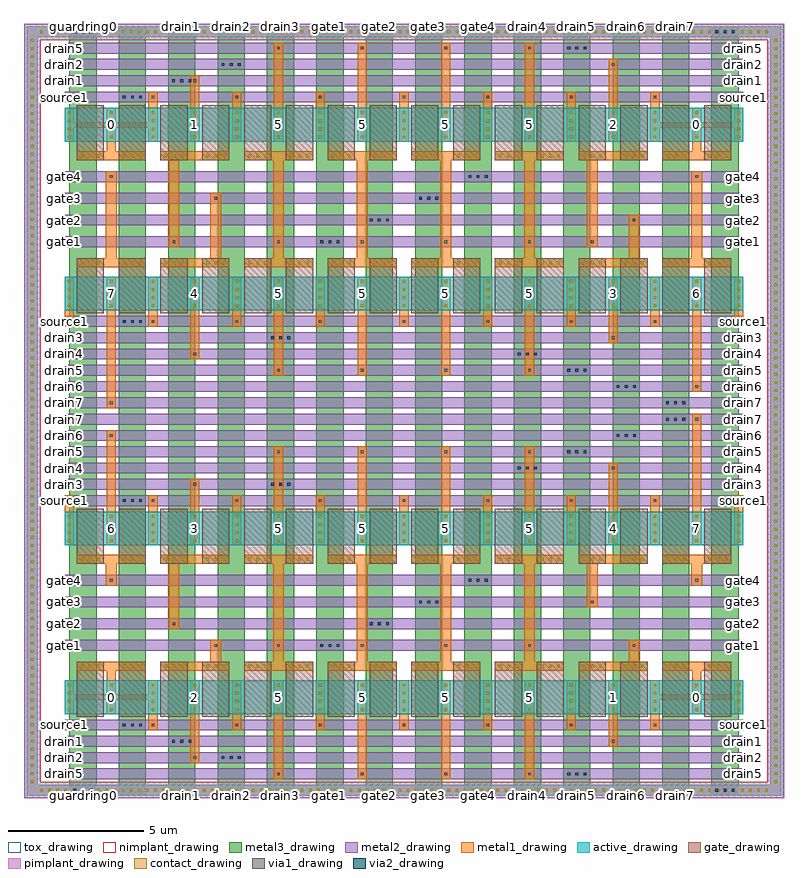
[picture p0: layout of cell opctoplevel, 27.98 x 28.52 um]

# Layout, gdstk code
import gdstk
lib = gdstk.Library(unit=1e-6, precision=1e-09)
def R(c, l, rs):  # rectangles x0, y0, x1, y1
    for r in rs: c.add(gdstk.rectangle(r[:2], r[2:], *l))
def A(c, l, x, y, w, h, nx, ny, dx, dy):  # array of equal rectangles
    R(c, l, [(x+i*dx, y+j*dy, x+i*dx+w, y+j*dy+h) for i in range(nx) for j in range(ny)])
active_drawing = (1, 0)
pimplant_drawing = (4, 0)
nimplant_drawing = (5, 0)
gate_drawing = (6, 0)
contact_drawing = (7, 0)
metal1_drawing = (8, 0)
via1_drawing = (9, 0)
metal2_drawing = (10, 0)
via2_drawing = (11, 0)
metal3_drawing = (12, 0)
tox_drawing = (32, 0)

opctoplevel = lib.new_cell('opctoplevel')
A(opctoplevel, active_drawing, -0.44, 0, 3.42, 1.25, 8, 2, 3.08, 6.21)
A(opctoplevel, active_drawing, -0.44, 14.86, 3.42, 1.25, 8, 2, 3.08, 6.21)
R(opctoplevel, active_drawing, [(-1.84,-3,25.94,-2.6), (-1.84,-3,-1.44,25.32), (25.54,-3,25.94,25.32), (-1.84,24.92,25.94,25.32)])
R(opctoplevel, pimplant_drawing, [(-1.94,-3.1,26.04,-2.5), (-1.94,-3.1,-1.34,25.42), (25.44,-3.1,26.04,25.42), (-1.94,24.82,26.04,25.42)])
R(opctoplevel, nimplant_drawing, [(-1.34,-2.5,25.44,24.82)])
A(opctoplevel, gate_drawing, 0, -0.1, 1, 2.03, 16, 2, 1.54, 5.63)
A(opctoplevel, gate_drawing, 0, 14.76, 1, 2.03, 16, 2, 1.54, 5.63)
A(opctoplevel, contact_drawing, -1.35, -2.85, 0.1, 0.1, 90, 2, 0.3, 27.92)
A(opctoplevel, contact_drawing, -1.69, -2.54, 0.1, 0.1, 1, 92, 0, 0.3)
A(opctoplevel, contact_drawing, 25.69, -2.54, 0.1, 0.1, 1, 92, 0, 0.3)
A(opctoplevel, contact_drawing, -0.32, 0.125, 0.1, 0.1, 3, 4, 1.54, 0.3)
A(opctoplevel, contact_drawing, 2.76, 0.125, 0.1, 0.1, 3, 4, 1.54, 0.3)
A(opctoplevel, contact_drawing, 5.84, 0.125, 0.1, 0.1, 3, 4, 1.54, 0.3)
A(opctoplevel, contact_drawing, 8.92, 0.125, 0.1, 0.1, 3, 4, 1.54, 0.3)
A(opctoplevel, contact_drawing, 12, 0.125, 0.1, 0.1, 3, 4, 1.54, 0.3)
A(opctoplevel, contact_drawing, 15.08, 0.125, 0.1, 0.1, 3, 4, 1.54, 0.3)
A(opctoplevel, contact_drawing, 18.16, 0.125, 0.1, 0.1, 3, 4, 1.54, 0.3)
A(opctoplevel, contact_drawing, 21.24, 0.125, 0.1, 0.1, 3, 4, 1.54, 0.3)
A(opctoplevel, contact_drawing, 0.15, 1.71, 0.1, 0.1, 3, 2, 0.3, 3.94)
A(opctoplevel, contact_drawing, 1.69, 1.71, 0.1, 0.1, 3, 2, 0.3, 3.94)
A(opctoplevel, contact_drawing, 3.23, 1.71, 0.1, 0.1, 3, 2, 0.3, 3.94)
A(opctoplevel, contact_drawing, 4.77, 1.71, 0.1, 0.1, 3, 2, 0.3, 3.94)
A(opctoplevel, contact_drawing, 6.31, 1.71, 0.1, 0.1, 3, 2, 0.3, 3.94)
A(opctoplevel, contact_drawing, 7.85, 1.71, 0.1, 0.1, 3, 2, 0.3, 3.94)
A(opctoplevel, contact_drawing, 9.39, 1.71, 0.1, 0.1, 3, 2, 0.3, 3.94)
A(opctoplevel, contact_drawing, 10.93, 1.71, 0.1, 0.1, 3, 2, 0.3, 3.94)
A(opctoplevel, contact_drawing, 12.47, 1.71, 0.1, 0.1, 3, 2, 0.3, 3.94)
A(opctoplevel, contact_drawing, 14.01, 1.71, 0.1, 0.1, 3, 2, 0.3, 3.94)
A(opctoplevel, contact_drawing, 15.55, 1.71, 0.1, 0.1, 3, 2, 0.3, 3.94)
A(opctoplevel, contact_drawing, 17.09, 1.71, 0.1, 0.1, 3, 2, 0.3, 3.94)
A(opctoplevel, contact_drawing, 18.63, 1.71, 0.1, 0.1, 3, 2, 0.3, 3.94)
A(opctoplevel, contact_drawing, 20.17, 1.71, 0.1, 0.1, 3, 2, 0.3, 3.94)
A(opctoplevel, contact_drawing, 21.71, 1.71, 0.1, 0.1, 3, 2, 0.3, 3.94)
A(opctoplevel, contact_drawing, 23.25, 1.71, 0.1, 0.1, 3, 2, 0.3, 3.94)
A(opctoplevel, contact_drawing, -0.32, 6.335, 0.1, 0.1, 3, 4, 1.54, 0.3)
A(opctoplevel, contact_drawing, 2.76, 6.335, 0.1, 0.1, 3, 4, 1.54, 0.3)
A(opctoplevel, contact_drawing, 5.84, 6.335, 0.1, 0.1, 3, 4, 1.54, 0.3)
A(opctoplevel, contact_drawing, 8.92, 6.335, 0.1, 0.1, 3, 4, 1.54, 0.3)
A(opctoplevel, contact_drawing, 12, 6.335, 0.1, 0.1, 3, 4, 1.54, 0.3)
A(opctoplevel, contact_drawing, 15.08, 6.335, 0.1, 0.1, 3, 4, 1.54, 0.3)
A(opctoplevel, contact_drawing, 18.16, 6.335, 0.1, 0.1, 3, 4, 1.54, 0.3)
A(opctoplevel, contact_drawing, 21.24, 6.335, 0.1, 0.1, 3, 4, 1.54, 0.3)
A(opctoplevel, contact_drawing, -0.32, 14.985, 0.1, 0.1, 3, 4, 1.54, 0.3)
A(opctoplevel, contact_drawing, 2.76, 14.985, 0.1, 0.1, 3, 4, 1.54, 0.3)
A(opctoplevel, contact_drawing, 5.84, 14.985, 0.1, 0.1, 3, 4, 1.54, 0.3)
A(opctoplevel, contact_drawing, 8.92, 14.985, 0.1, 0.1, 3, 4, 1.54, 0.3)
A(opctoplevel, contact_drawing, 12, 14.985, 0.1, 0.1, 3, 4, 1.54, 0.3)
A(opctoplevel, contact_drawing, 15.08, 14.985, 0.1, 0.1, 3, 4, 1.54, 0.3)
A(opctoplevel, contact_drawing, 18.16, 14.985, 0.1, 0.1, 3, 4, 1.54, 0.3)
A(opctoplevel, contact_drawing, 21.24, 14.985, 0.1, 0.1, 3, 4, 1.54, 0.3)
A(opctoplevel, contact_drawing, 0.15, 16.57, 0.1, 0.1, 3, 2, 0.3, 3.94)
A(opctoplevel, contact_drawing, 1.69, 16.57, 0.1, 0.1, 3, 2, 0.3, 3.94)
A(opctoplevel, contact_drawing, 3.23, 16.57, 0.1, 0.1, 3, 2, 0.3, 3.94)
A(opctoplevel, contact_drawing, 4.77, 16.57, 0.1, 0.1, 3, 2, 0.3, 3.94)
A(opctoplevel, contact_drawing, 6.31, 16.57, 0.1, 0.1, 3, 2, 0.3, 3.94)
A(opctoplevel, contact_drawing, 7.85, 16.57, 0.1, 0.1, 3, 2, 0.3, 3.94)
A(opctoplevel, contact_drawing, 9.39, 16.57, 0.1, 0.1, 3, 2, 0.3, 3.94)
A(opctoplevel, contact_drawing, 10.93, 16.57, 0.1, 0.1, 3, 2, 0.3, 3.94)
A(opctoplevel, contact_drawing, 12.47, 16.57, 0.1, 0.1, 3, 2, 0.3, 3.94)
A(opctoplevel, contact_drawing, 14.01, 16.57, 0.1, 0.1, 3, 2, 0.3, 3.94)
A(opctoplevel, contact_drawing, 15.55, 16.57, 0.1, 0.1, 3, 2, 0.3, 3.94)
A(opctoplevel, contact_drawing, 17.09, 16.57, 0.1, 0.1, 3, 2, 0.3, 3.94)
A(opctoplevel, contact_drawing, 18.63, 16.57, 0.1, 0.1, 3, 2, 0.3, 3.94)
A(opctoplevel, contact_drawing, 20.17, 16.57, 0.1, 0.1, 3, 2, 0.3, 3.94)
A(opctoplevel, contact_drawing, 21.71, 16.57, 0.1, 0.1, 3, 2, 0.3, 3.94)
A(opctoplevel, contact_drawing, 23.25, 16.57, 0.1, 0.1, 3, 2, 0.3, 3.94)
A(opctoplevel, contact_drawing, -0.32, 21.195, 0.1, 0.1, 3, 4, 1.54, 0.3)
A(opctoplevel, contact_drawing, 2.76, 21.195, 0.1, 0.1, 3, 4, 1.54, 0.3)
A(opctoplevel, contact_drawing, 5.84, 21.195, 0.1, 0.1, 3, 4, 1.54, 0.3)
A(opctoplevel, contact_drawing, 8.92, 21.195, 0.1, 0.1, 3, 4, 1.54, 0.3)
A(opctoplevel, contact_drawing, 12, 21.195, 0.1, 0.1, 3, 4, 1.54, 0.3)
A(opctoplevel, contact_drawing, 15.08, 21.195, 0.1, 0.1, 3, 4, 1.54, 0.3)
A(opctoplevel, contact_drawing, 18.16, 21.195, 0.1, 0.1, 3, 4, 1.54, 0.3)
A(opctoplevel, contact_drawing, 21.24, 21.195, 0.1, 0.1, 3, 4, 1.54, 0.3)
A(opctoplevel, metal1_drawing, 7.26, -2.4, 0.34, 0.4, 4, 2, 3.08, 11.86)
A(opctoplevel, metal1_drawing, 7.26, -2.4, 0.34, 2.4, 4, 2, 3.08, 9.86)
A(opctoplevel, metal1_drawing, -0.44, 0, 0.34, 1.25, 3, 2, 1.54, 6.21)
A(opctoplevel, metal1_drawing, 2.64, 0, 0.34, 1.25, 3, 2, 1.54, 6.21)
A(opctoplevel, metal1_drawing, 5.72, 0, 0.34, 1.25, 3, 2, 1.54, 6.21)
A(opctoplevel, metal1_drawing, 8.8, 0, 0.34, 1.25, 3, 2, 1.54, 6.21)
A(opctoplevel, metal1_drawing, 11.88, 0, 0.34, 1.25, 3, 2, 1.54, 6.21)
A(opctoplevel, metal1_drawing, 14.96, 0, 0.34, 1.25, 3, 2, 1.54, 6.21)
A(opctoplevel, metal1_drawing, 18.04, 0, 0.34, 1.25, 3, 2, 1.54, 6.21)
A(opctoplevel, metal1_drawing, 21.12, 0, 0.34, 1.25, 3, 2, 1.54, 6.21)
A(opctoplevel, metal1_drawing, 0, 1.59, 2.54, 0.34, 8, 2, 3.08, 3.94)
A(opctoplevel, metal1_drawing, 7.23, 1.59, 0.4, 0.34, 4, 2, 3.08, 3.94)
A(opctoplevel, metal1_drawing, 7.23, 1.93, 0.4, 0.4, 4, 2, 3.08, 14.86)
A(opctoplevel, metal1_drawing, 7.23, 2.73, 0.4, 2.8, 4, 2, 3.08, 14.86)
A(opctoplevel, metal1_drawing, 7.26, 12.46, 0.34, 0.4, 4, 2, 3.08, 11.86)
A(opctoplevel, metal1_drawing, 7.26, 12.46, 0.34, 2.4, 4, 2, 3.08, 9.86)
A(opctoplevel, metal1_drawing, -0.44, 14.86, 0.34, 1.25, 3, 2, 1.54, 6.21)
A(opctoplevel, metal1_drawing, 2.64, 14.86, 0.34, 1.25, 3, 2, 1.54, 6.21)
A(opctoplevel, metal1_drawing, 5.72, 14.86, 0.34, 1.25, 3, 2, 1.54, 6.21)
A(opctoplevel, metal1_drawing, 8.8, 14.86, 0.34, 1.25, 3, 2, 1.54, 6.21)
A(opctoplevel, metal1_drawing, 11.88, 14.86, 0.34, 1.25, 3, 2, 1.54, 6.21)
A(opctoplevel, metal1_drawing, 14.96, 14.86, 0.34, 1.25, 3, 2, 1.54, 6.21)
A(opctoplevel, metal1_drawing, 18.04, 14.86, 0.34, 1.25, 3, 2, 1.54, 6.21)
A(opctoplevel, metal1_drawing, 21.12, 14.86, 0.34, 1.25, 3, 2, 1.54, 6.21)
A(opctoplevel, metal1_drawing, 0, 16.45, 2.54, 0.34, 8, 2, 3.08, 3.94)
A(opctoplevel, metal1_drawing, 7.23, 16.45, 0.4, 0.34, 4, 2, 3.08, 3.94)
R(opctoplevel, metal1_drawing, [(-1.84,-3,25.94,-2.6), (-1.84,-3,-1.44,25.32), (-0.267,-3,0.733,-2.6), (23.367,-3,24.367,-2.6), (25.54,-3,25.94,25.32), (4.18,-1.8,4.52,-1.4), (4.18,-1.8,4.52,0), (19.58,-1.2,19.92,-0.8), (19.58,-1.2,19.92,0), (2.64,-0.6,2.98,0), (2.64,-0.6,2.98,-0.2), (5.72,-0.6,6.06,0), (5.72,-0.6,6.06,0), (5.72,-0.6,6.06,-0.2), (5.72,-0.6,6.06,-0.2), (8.8,-0.6,9.14,0), (8.8,-0.6,9.14,0), (8.8,-0.6,9.14,-0.2), (8.8,-0.6,9.14,-0.2), (11.88,-0.6,12.22,0), (11.88,-0.6,12.22,0), (11.88,-0.6,12.22,-0.2), (11.88,-0.6,12.22,-0.2), (14.96,-0.6,15.3,0), (14.96,-0.6,15.3,0), (14.96,-0.6,15.3,-0.2), (14.96,-0.6,15.3,-0.2), (18.04,-0.6,18.38,0), (18.04,-0.6,18.38,0), (18.04,-0.6,18.38,-0.2), (18.04,-0.6,18.38,-0.2), (21.12,-0.6,21.46,0), (21.12,-0.6,21.46,-0.2), (-0.1,0.525,2.64,0.725), (21.46,0.525,24.2,0.725), (1.1,1.25,1.44,1.59), (22.66,1.25,23,1.59), (4.92,1.59,5.32,1.93), (20.32,1.59,20.72,1.93), (4.92,1.93,5.32,2.33), (20.32,1.93,20.72,2.33), (4.92,2.33,5.32,2.73), (7.23,2.33,7.63,2.73), (7.23,2.33,7.63,2.73), (10.31,2.33,10.71,2.73), (10.31,2.33,10.71,2.73), (13.39,2.33,13.79,2.73), (13.39,2.33,13.79,2.73), (16.47,2.33,16.87,2.73), (16.47,2.33,16.87,2.73), (20.32,2.33,20.72,2.73), (3.38,3.13,3.78,3.53), (3.38,3.53,3.78,5.53), (18.78,3.93,19.18,4.33), (18.78,4.33,19.18,5.53), (1.07,4.73,1.47,5.13), (22.63,4.73,23.03,5.13), (1.07,5.13,1.47,5.53), (22.63,5.13,23.03,5.53), (1.07,5.53,1.47,5.87), (3.38,5.53,3.78,5.87), (18.78,5.53,19.18,5.87), (22.63,5.53,23.03,5.87), (-0.44,7.46,-0.1,8.06), (1.1,7.46,1.44,10.46), (2.64,7.46,2.98,8.06), (2.64,7.46,2.98,8.06), (4.18,7.46,4.52,8.66), (5.72,7.46,6.06,8.06), (5.72,7.46,6.06,8.06), (8.8,7.46,9.14,8.06), (8.8,7.46,9.14,8.06), (11.88,7.46,12.22,8.06), (11.88,7.46,12.22,8.06), (14.96,7.46,15.3,8.06), (14.96,7.46,15.3,8.06), (18.04,7.46,18.38,8.06), (18.04,7.46,18.38,8.06), (19.58,7.46,19.92,9.26), (21.12,7.46,21.46,8.06), (21.12,7.46,21.46,8.06), (22.66,7.46,23,11.06), (24.2,7.46,24.54,8.06), (-0.44,7.66,-0.1,8.06), (2.64,7.66,2.98,8.06), (2.64,7.66,2.98,8.06), (5.72,7.66,6.06,8.06), (5.72,7.66,6.06,8.06), (8.8,7.66,9.14,8.06), (8.8,7.66,9.14,8.06), (11.88,7.66,12.22,8.06), (11.88,7.66,12.22,8.06), (14.96,7.66,15.3,8.06), (14.96,7.66,15.3,8.06), (18.04,7.66,18.38,8.06), (18.04,7.66,18.38,8.06), (21.12,7.66,21.46,8.06), (21.12,7.66,21.46,8.06), (24.2,7.66,24.54,8.06), (4.18,8.26,4.52,8.66), (19.58,8.86,19.92,9.26), (1.1,10.06,1.44,10.46), (22.66,10.66,23,11.06), (1.1,11.26,1.44,11.66), (1.1,11.26,1.44,14.86), (22.66,11.86,23,12.26), (22.66,11.86,23,14.86), (4.18,13.06,4.52,13.46), (4.18,13.06,4.52,14.86), (19.58,13.66,19.92,14.06), (19.58,13.66,19.92,14.86), (-0.44,14.26,-0.1,14.86), (-0.44,14.26,-0.1,14.66), (2.64,14.26,2.98,14.86), (2.64,14.26,2.98,14.86), (2.64,14.26,2.98,14.66), (2.64,14.26,2.98,14.66), (5.72,14.26,6.06,14.86), (5.72,14.26,6.06,14.86), (5.72,14.26,6.06,14.66), (5.72,14.26,6.06,14.66), (8.8,14.26,9.14,14.86), (8.8,14.26,9.14,14.86), (8.8,14.26,9.14,14.66), (8.8,14.26,9.14,14.66), (11.88,14.26,12.22,14.86), (11.88,14.26,12.22,14.86), (11.88,14.26,12.22,14.66), (11.88,14.26,12.22,14.66), (14.96,14.26,15.3,14.86), (14.96,14.26,15.3,14.86), (14.96,14.26,15.3,14.66), (14.96,14.26,15.3,14.66), (18.04,14.26,18.38,14.86), (18.04,14.26,18.38,14.86), (18.04,14.26,18.38,14.66), (18.04,14.26,18.38,14.66), (21.12,14.26,21.46,14.86), (21.12,14.26,21.46,14.86), (21.12,14.26,21.46,14.66), (21.12,14.26,21.46,14.66), (24.2,14.26,24.54,14.86), (24.2,14.26,24.54,14.66), (1.07,16.45,1.47,16.79), (4.92,16.45,5.32,16.79), (20.32,16.45,20.72,16.79), (22.63,16.45,23.03,16.79), (1.07,16.79,1.47,19.59), (4.92,16.79,5.32,18.79), (20.32,16.79,20.72,17.99), (22.63,16.79,23.03,19.59), (3.38,17.19,3.78,17.59), (7.23,17.19,7.63,17.59), (7.23,17.19,7.63,17.59), (10.31,17.19,10.71,17.59), (10.31,17.19,10.71,17.59), (13.39,17.19,13.79,17.59), (13.39,17.19,13.79,17.59), (16.47,17.19,16.87,17.59), (16.47,17.19,16.87,17.59), (18.78,17.19,19.18,17.59), (3.38,17.59,3.78,20.39), (18.78,17.59,19.18,20.39), (20.32,17.99,20.72,18.39), (4.92,18.79,5.32,19.19), (1.07,19.59,1.47,19.99), (22.63,19.59,23.03,19.99), (3.38,20.39,3.78,20.73), (18.78,20.39,19.18,20.73), (1.1,20.73,1.44,21.07), (22.66,20.73,23,21.07), (-0.1,21.595,2.64,21.795), (21.46,21.595,24.2,21.795), (2.64,22.32,2.98,22.92), (4.18,22.32,4.52,23.52), (5.72,22.32,6.06,22.92), (5.72,22.32,6.06,22.92), (8.8,22.32,9.14,22.92), (8.8,22.32,9.14,22.92), (11.88,22.32,12.22,22.92), (11.88,22.32,12.22,22.92), (14.96,22.32,15.3,22.92), (14.96,22.32,15.3,22.92), (18.04,22.32,18.38,22.92), (18.04,22.32,18.38,22.92), (19.58,22.32,19.92,24.12), (21.12,22.32,21.46,22.92), (2.64,22.52,2.98,22.92), (5.72,22.52,6.06,22.92), (5.72,22.52,6.06,22.92), (8.8,22.52,9.14,22.92), (8.8,22.52,9.14,22.92), (11.88,22.52,12.22,22.92), (11.88,22.52,12.22,22.92), (14.96,22.52,15.3,22.92), (14.96,22.52,15.3,22.92), (18.04,22.52,18.38,22.92), (18.04,22.52,18.38,22.92), (21.12,22.52,21.46,22.92), (4.18,23.12,4.52,23.52), (19.58,23.72,19.92,24.12), (-1.84,24.92,25.94,25.32), (-0.267,24.92,0.733,25.32), (23.367,24.92,24.367,25.32)])
A(opctoplevel, via1_drawing, -0.117, -2.85, 0.1, 0.1, 3, 2, 0.3, 27.92)
A(opctoplevel, via1_drawing, 23.517, -2.85, 0.1, 0.1, 3, 2, 0.3, 27.92)
A(opctoplevel, via1_drawing, 7.38, -2.25, 0.1, 0.1, 4, 2, 3.08, 11.86)
A(opctoplevel, via1_drawing, 7.38, 12.61, 0.1, 0.1, 4, 2, 3.08, 11.86)
R(opctoplevel, via1_drawing, [(4.3,-1.65,4.4,-1.55), (19.7,-1.05,19.8,-0.95), (2.76,-0.45,2.86,-0.35), (5.84,-0.45,5.94,-0.35), (5.84,-0.45,5.94,-0.35), (8.92,-0.45,9.02,-0.35), (8.92,-0.45,9.02,-0.35), (12,-0.45,12.1,-0.35), (12,-0.45,12.1,-0.35), (15.08,-0.45,15.18,-0.35), (15.08,-0.45,15.18,-0.35), (18.16,-0.45,18.26,-0.35), (18.16,-0.45,18.26,-0.35), (21.24,-0.45,21.34,-0.35), (5.07,2.48,5.17,2.58), (7.38,2.48,7.48,2.58), (7.38,2.48,7.48,2.58), (10.46,2.48,10.56,2.58), (10.46,2.48,10.56,2.58), (13.54,2.48,13.64,2.58), (13.54,2.48,13.64,2.58), (16.62,2.48,16.72,2.58), (16.62,2.48,16.72,2.58), (20.47,2.48,20.57,2.58), (3.53,3.28,3.63,3.38), (18.93,4.08,19.03,4.18), (1.22,4.88,1.32,4.98), (22.78,4.88,22.88,4.98), (-0.32,7.81,-0.22,7.91), (2.76,7.81,2.86,7.91), (2.76,7.81,2.86,7.91), (5.84,7.81,5.94,7.91), (5.84,7.81,5.94,7.91), (8.92,7.81,9.02,7.91), (8.92,7.81,9.02,7.91), (12,7.81,12.1,7.91), (12,7.81,12.1,7.91), (15.08,7.81,15.18,7.91), (15.08,7.81,15.18,7.91), (18.16,7.81,18.26,7.91), (18.16,7.81,18.26,7.91), (21.24,7.81,21.34,7.91), (21.24,7.81,21.34,7.91), (24.32,7.81,24.42,7.91), (4.3,8.41,4.4,8.51), (19.7,9.01,19.8,9.11), (1.22,10.21,1.32,10.31), (22.78,10.81,22.88,10.91), (1.22,11.41,1.32,11.51), (22.78,12.01,22.88,12.11), (4.3,13.21,4.4,13.31), (19.7,13.81,19.8,13.91), (-0.32,14.41,-0.22,14.51), (2.76,14.41,2.86,14.51), (2.76,14.41,2.86,14.51), (5.84,14.41,5.94,14.51), (5.84,14.41,5.94,14.51), (8.92,14.41,9.02,14.51), (8.92,14.41,9.02,14.51), (12,14.41,12.1,14.51), (12,14.41,12.1,14.51), (15.08,14.41,15.18,14.51), (15.08,14.41,15.18,14.51), (18.16,14.41,18.26,14.51), (18.16,14.41,18.26,14.51), (21.24,14.41,21.34,14.51), (21.24,14.41,21.34,14.51), (24.32,14.41,24.42,14.51), (3.53,17.34,3.63,17.44), (7.38,17.34,7.48,17.44), (7.38,17.34,7.48,17.44), (10.46,17.34,10.56,17.44), (10.46,17.34,10.56,17.44), (13.54,17.34,13.64,17.44), (13.54,17.34,13.64,17.44), (16.62,17.34,16.72,17.44), (16.62,17.34,16.72,17.44), (18.93,17.34,19.03,17.44), (20.47,18.14,20.57,18.24), (5.07,18.94,5.17,19.04), (1.22,19.74,1.32,19.84), (22.78,19.74,22.88,19.84), (2.76,22.67,2.86,22.77), (5.84,22.67,5.94,22.77), (5.84,22.67,5.94,22.77), (8.92,22.67,9.02,22.77), (8.92,22.67,9.02,22.77), (12,22.67,12.1,22.77), (12,22.67,12.1,22.77), (15.08,22.67,15.18,22.77), (15.08,22.67,15.18,22.77), (18.16,22.67,18.26,22.77), (18.16,22.67,18.26,22.77), (21.24,22.67,21.34,22.77), (4.3,23.27,4.4,23.37), (19.7,23.87,19.8,23.97)])
A(opctoplevel, metal2_drawing, -0.44, -2.4, 24.98, 0.4, 1, 4, 0, 0.6)
A(opctoplevel, metal2_drawing, 7.26, -2.4, 0.34, 0.4, 4, 2, 3.08, 11.86)
A(opctoplevel, metal2_drawing, -0.44, 2.33, 24.98, 0.4, 1, 4, 0, 0.8)
A(opctoplevel, metal2_drawing, -0.44, 7.66, 24.98, 0.4, 1, 12, 0, 0.6)
A(opctoplevel, metal2_drawing, 7.26, 12.46, 0.34, 0.4, 4, 2, 3.08, 11.86)
A(opctoplevel, metal2_drawing, -0.44, 17.19, 24.98, 0.4, 1, 4, 0, 0.8)
A(opctoplevel, metal2_drawing, -0.44, 22.52, 24.98, 0.4, 1, 4, 0, 0.6)
R(opctoplevel, metal2_drawing, [(-0.267,-3,0.733,-2.6), (23.367,-3,24.367,-2.6), (4.18,-1.8,4.52,-1.4), (19.58,-1.2,19.92,-0.8), (2.64,-0.6,2.98,-0.2), (5.72,-0.6,6.06,-0.2), (5.72,-0.6,6.06,-0.2), (8.8,-0.6,9.14,-0.2), (8.8,-0.6,9.14,-0.2), (11.88,-0.6,12.22,-0.2), (11.88,-0.6,12.22,-0.2), (14.96,-0.6,15.3,-0.2), (14.96,-0.6,15.3,-0.2), (18.04,-0.6,18.38,-0.2), (18.04,-0.6,18.38,-0.2), (21.12,-0.6,21.46,-0.2), (4.92,2.33,5.32,2.73), (7.23,2.33,7.63,2.73), (7.23,2.33,7.63,2.73), (10.31,2.33,10.71,2.73), (10.31,2.33,10.71,2.73), (13.39,2.33,13.79,2.73), (13.39,2.33,13.79,2.73), (16.47,2.33,16.87,2.73), (16.47,2.33,16.87,2.73), (20.32,2.33,20.72,2.73), (3.38,3.13,3.78,3.53), (18.78,3.93,19.18,4.33), (1.07,4.73,1.47,5.13), (22.63,4.73,23.03,5.13), (-0.44,7.66,-0.1,8.06), (2.64,7.66,2.98,8.06), (2.64,7.66,2.98,8.06), (5.72,7.66,6.06,8.06), (5.72,7.66,6.06,8.06), (8.8,7.66,9.14,8.06), (8.8,7.66,9.14,8.06), (11.88,7.66,12.22,8.06), (11.88,7.66,12.22,8.06), (14.96,7.66,15.3,8.06), (14.96,7.66,15.3,8.06), (18.04,7.66,18.38,8.06), (18.04,7.66,18.38,8.06), (21.12,7.66,21.46,8.06), (21.12,7.66,21.46,8.06), (24.2,7.66,24.54,8.06), (4.18,8.26,4.52,8.66), (19.58,8.86,19.92,9.26), (1.1,10.06,1.44,10.46), (22.66,10.66,23,11.06), (1.1,11.26,1.44,11.66), (22.66,11.86,23,12.26), (4.18,13.06,4.52,13.46), (19.58,13.66,19.92,14.06), (-0.44,14.26,-0.1,14.66), (2.64,14.26,2.98,14.66), (2.64,14.26,2.98,14.66), (5.72,14.26,6.06,14.66), (5.72,14.26,6.06,14.66), (8.8,14.26,9.14,14.66), (8.8,14.26,9.14,14.66), (11.88,14.26,12.22,14.66), (11.88,14.26,12.22,14.66), (14.96,14.26,15.3,14.66), (14.96,14.26,15.3,14.66), (18.04,14.26,18.38,14.66), (18.04,14.26,18.38,14.66), (21.12,14.26,21.46,14.66), (21.12,14.26,21.46,14.66), (24.2,14.26,24.54,14.66), (3.38,17.19,3.78,17.59), (7.23,17.19,7.63,17.59), (7.23,17.19,7.63,17.59), (10.31,17.19,10.71,17.59), (10.31,17.19,10.71,17.59), (13.39,17.19,13.79,17.59), (13.39,17.19,13.79,17.59), (16.47,17.19,16.87,17.59), (16.47,17.19,16.87,17.59), (18.78,17.19,19.18,17.59), (20.32,17.99,20.72,18.39), (4.92,18.79,5.32,19.19), (1.07,19.59,1.47,19.99), (22.63,19.59,23.03,19.99), (2.64,22.52,2.98,22.92), (5.72,22.52,6.06,22.92), (5.72,22.52,6.06,22.92), (8.8,22.52,9.14,22.92), (8.8,22.52,9.14,22.92), (11.88,22.52,12.22,22.92), (11.88,22.52,12.22,22.92), (14.96,22.52,15.3,22.92), (14.96,22.52,15.3,22.92), (18.04,22.52,18.38,22.92), (18.04,22.52,18.38,22.92), (21.12,22.52,21.46,22.92), (4.18,23.12,4.52,23.52), (19.58,23.72,19.92,24.12), (-0.267,24.92,0.733,25.32), (23.367,24.92,24.367,25.32)])
A(opctoplevel, via2_drawing, -0.117, -2.85, 0.1, 0.1, 3, 2, 0.3, 27.92)
A(opctoplevel, via2_drawing, 23.517, -2.85, 0.1, 0.1, 3, 2, 0.3, 27.92)
A(opctoplevel, via2_drawing, 18.063, -2.25, 0.1, 0.1, 3, 2, 0.3, 11.86)
A(opctoplevel, via2_drawing, 5.337, -1.65, 0.1, 0.1, 3, 2, 0.3, 25.52)
A(opctoplevel, via2_drawing, 3.519, -1.05, 0.1, 0.1, 3, 2, 0.3, 24.32)
A(opctoplevel, via2_drawing, 1.701, -0.45, 0.1, 0.1, 3, 2, 0.3, 8.26)
A(opctoplevel, via2_drawing, 10.791, 3.28, 0.1, 0.1, 3, 2, 0.3, 14.86)
A(opctoplevel, via2_drawing, 12.609, 4.08, 0.1, 0.1, 3, 2, 0.3, 14.86)
A(opctoplevel, via2_drawing, 14.427, 4.88, 0.1, 0.1, 3, 2, 0.3, 14.86)
A(opctoplevel, via2_drawing, 7.155, 8.41, 0.1, 0.1, 3, 2, 0.3, 5.4)
A(opctoplevel, via2_drawing, 16.245, 9.01, 0.1, 0.1, 3, 2, 0.3, 4.2)
A(opctoplevel, via2_drawing, 19.881, 10.21, 0.1, 0.1, 3, 2, 0.3, 1.8)
A(opctoplevel, via2_drawing, 21.699, 10.81, 0.1, 0.1, 3, 2, 0.3, 0.6)
A(opctoplevel, via2_drawing, 18.063, 12.61, 0.1, 0.1, 3, 2, 0.3, 11.86)
A(opctoplevel, via2_drawing, 1.701, 14.41, 0.1, 0.1, 3, 2, 0.3, 8.26)
R(opctoplevel, via2_drawing, [(8.973,2.48,9.073,2.58), (8.973,2.48,9.073,2.58), (9.273,2.48,9.373,2.58), (9.273,2.48,9.373,2.58), (9.573,2.48,9.673,2.58), (9.573,2.48,9.673,2.58), (8.973,17.34,9.073,17.44), (8.973,17.34,9.073,17.44), (9.273,17.34,9.373,17.44), (9.273,17.34,9.373,17.44), (9.573,17.34,9.673,17.44), (9.573,17.34,9.673,17.44)])
A(opctoplevel, metal3_drawing, -0.267, -3, 1, 28.32, 14, 1, 1.818, 0)
R(opctoplevel, metal3_drawing, [(-0.267,-3,0.733,-2.6), (23.367,-3,24.367,-2.6), (-0.267,24.92,0.733,25.32), (23.367,24.92,24.367,25.32)])
R(opctoplevel, tox_drawing, [(-1.92,-3.08,26.02,25.4)])
opctoplevel.add(gdstk.Label('0', (1.27,0.625), layer=234, texttype=0))
opctoplevel.add(gdstk.Label('2', (4.35,0.625), layer=234, texttype=0))
opctoplevel.add(gdstk.Label('5', (7.43,0.625), layer=234, texttype=0))
opctoplevel.add(gdstk.Label('5', (10.51,0.625), layer=234, texttype=0))
opctoplevel.add(gdstk.Label('5', (13.59,0.625), layer=234, texttype=0))
opctoplevel.add(gdstk.Label('5', (16.67,0.625), layer=234, texttype=0))
opctoplevel.add(gdstk.Label('1', (19.75,0.625), layer=234, texttype=0))
opctoplevel.add(gdstk.Label('0', (22.83,0.625), layer=234, texttype=0))
opctoplevel.add(gdstk.Label('6', (1.27,6.835), layer=234, texttype=0))
opctoplevel.add(gdstk.Label('3', (4.35,6.835), layer=234, texttype=0))
opctoplevel.add(gdstk.Label('5', (7.43,6.835), layer=234, texttype=0))
opctoplevel.add(gdstk.Label('5', (10.51,6.835), layer=234, texttype=0))
opctoplevel.add(gdstk.Label('5', (13.59,6.835), layer=234, texttype=0))
opctoplevel.add(gdstk.Label('5', (16.67,6.835), layer=234, texttype=0))
opctoplevel.add(gdstk.Label('4', (19.75,6.835), layer=234, texttype=0))
opctoplevel.add(gdstk.Label('7', (22.83,6.835), layer=234, texttype=0))
opctoplevel.add(gdstk.Label('7', (1.27,15.485), layer=234, texttype=0))
opctoplevel.add(gdstk.Label('4', (4.35,15.485), layer=234, texttype=0))
opctoplevel.add(gdstk.Label('5', (7.43,15.485), layer=234, texttype=0))
opctoplevel.add(gdstk.Label('5', (10.51,15.485), layer=234, texttype=0))
opctoplevel.add(gdstk.Label('5', (13.59,15.485), layer=234, texttype=0))
opctoplevel.add(gdstk.Label('5', (16.67,15.485), layer=234, texttype=0))
opctoplevel.add(gdstk.Label('3', (19.75,15.485), layer=234, texttype=0))
opctoplevel.add(gdstk.Label('6', (22.83,15.485), layer=234, texttype=0))
opctoplevel.add(gdstk.Label('0', (1.27,21.695), layer=234, texttype=0))
opctoplevel.add(gdstk.Label('1', (4.35,21.695), layer=234, texttype=0))
opctoplevel.add(gdstk.Label('5', (7.43,21.695), layer=234, texttype=0))
opctoplevel.add(gdstk.Label('5', (10.51,21.695), layer=234, texttype=0))
opctoplevel.add(gdstk.Label('5', (13.59,21.695), layer=234, texttype=0))
opctoplevel.add(gdstk.Label('5', (16.67,21.695), layer=234, texttype=0))
opctoplevel.add(gdstk.Label('2', (19.75,21.695), layer=234, texttype=0))
opctoplevel.add(gdstk.Label('0', (22.83,21.695), layer=234, texttype=0))
opctoplevel.add(gdstk.Label('gate1', (-0.44,2.53), layer=10, texttype=0))
opctoplevel.add(gdstk.Label('gate1', (24.54,2.53), layer=10, texttype=0))
opctoplevel.add(gdstk.Label('gate2', (-0.44,3.33), layer=10, texttype=0))
opctoplevel.add(gdstk.Label('gate2', (24.54,3.33), layer=10, texttype=0))
opctoplevel.add(gdstk.Label('gate3', (-0.44,4.13), layer=10, texttype=0))
opctoplevel.add(gdstk.Label('gate3', (24.54,4.13), layer=10, texttype=0))
opctoplevel.add(gdstk.Label('gate4', (-0.44,4.93), layer=10, texttype=0))
opctoplevel.add(gdstk.Label('gate4', (24.54,4.93), layer=10, texttype=0))
opctoplevel.add(gdstk.Label('gate1', (-0.44,17.39), layer=10, texttype=0))
opctoplevel.add(gdstk.Label('gate1', (24.54,17.39), layer=10, texttype=0))
opctoplevel.add(gdstk.Label('gate2', (-0.44,18.19), layer=10, texttype=0))
opctoplevel.add(gdstk.Label('gate2', (24.54,18.19), layer=10, texttype=0))
opctoplevel.add(gdstk.Label('gate3', (-0.44,18.99), layer=10, texttype=0))
opctoplevel.add(gdstk.Label('gate3', (24.54,18.99), layer=10, texttype=0))
opctoplevel.add(gdstk.Label('gate4', (-0.44,19.79), layer=10, texttype=0))
opctoplevel.add(gdstk.Label('gate4', (24.54,19.79), layer=10, texttype=0))
opctoplevel.add(gdstk.Label('source1', (-0.44,-0.4), layer=10, texttype=0))
opctoplevel.add(gdstk.Label('source1', (24.54,-0.4), layer=10, texttype=0))
opctoplevel.add(gdstk.Label('drain1', (-0.44,-1), layer=10, texttype=0))
opctoplevel.add(gdstk.Label('drain1', (24.54,-1), layer=10, texttype=0))
opctoplevel.add(gdstk.Label('drain2', (-0.44,-1.6), layer=10, texttype=0))
opctoplevel.add(gdstk.Label('drain2', (24.54,-1.6), layer=10, texttype=0))
opctoplevel.add(gdstk.Label('drain5', (-0.44,-2.2), layer=10, texttype=0))
opctoplevel.add(gdstk.Label('drain5', (24.54,-2.2), layer=10, texttype=0))
opctoplevel.add(gdstk.Label('source1', (-0.44,7.86), layer=10, texttype=0))
opctoplevel.add(gdstk.Label('source1', (24.54,7.86), layer=10, texttype=0))
opctoplevel.add(gdstk.Label('drain3', (-0.44,8.46), layer=10, texttype=0))
opctoplevel.add(gdstk.Label('drain3', (24.54,8.46), layer=10, texttype=0))
opctoplevel.add(gdstk.Label('drain4', (-0.44,9.06), layer=10, texttype=0))
opctoplevel.add(gdstk.Label('drain4', (24.54,9.06), layer=10, texttype=0))
opctoplevel.add(gdstk.Label('drain5', (-0.44,9.66), layer=10, texttype=0))
opctoplevel.add(gdstk.Label('drain5', (24.54,9.66), layer=10, texttype=0))
opctoplevel.add(gdstk.Label('drain6', (-0.44,10.26), layer=10, texttype=0))
opctoplevel.add(gdstk.Label('drain6', (24.54,10.26), layer=10, texttype=0))
opctoplevel.add(gdstk.Label('drain7', (-0.44,10.86), layer=10, texttype=0))
opctoplevel.add(gdstk.Label('drain7', (24.54,10.86), layer=10, texttype=0))
opctoplevel.add(gdstk.Label('source1', (-0.44,14.46), layer=10, texttype=0))
opctoplevel.add(gdstk.Label('source1', (24.54,14.46), layer=10, texttype=0))
opctoplevel.add(gdstk.Label('drain3', (-0.44,13.86), layer=10, texttype=0))
opctoplevel.add(gdstk.Label('drain3', (24.54,13.86), layer=10, texttype=0))
opctoplevel.add(gdstk.Label('drain4', (-0.44,13.26), layer=10, texttype=0))
opctoplevel.add(gdstk.Label('drain4', (24.54,13.26), layer=10, texttype=0))
opctoplevel.add(gdstk.Label('drain5', (-0.44,12.66), layer=10, texttype=0))
opctoplevel.add(gdstk.Label('drain5', (24.54,12.66), layer=10, texttype=0))
opctoplevel.add(gdstk.Label('drain6', (-0.44,12.06), layer=10, texttype=0))
opctoplevel.add(gdstk.Label('drain6', (24.54,12.06), layer=10, texttype=0))
opctoplevel.add(gdstk.Label('drain7', (-0.44,11.46), layer=10, texttype=0))
opctoplevel.add(gdstk.Label('drain7', (24.54,11.46), layer=10, texttype=0))
opctoplevel.add(gdstk.Label('source1', (-0.44,22.72), layer=10, texttype=0))
opctoplevel.add(gdstk.Label('source1', (24.54,22.72), layer=10, texttype=0))
opctoplevel.add(gdstk.Label('drain1', (-0.44,23.32), layer=10, texttype=0))
opctoplevel.add(gdstk.Label('drain1', (24.54,23.32), layer=10, texttype=0))
opctoplevel.add(gdstk.Label('drain2', (-0.44,23.92), layer=10, texttype=0))
opctoplevel.add(gdstk.Label('drain2', (24.54,23.92), layer=10, texttype=0))
opctoplevel.add(gdstk.Label('drain5', (-0.44,24.52), layer=10, texttype=0))
opctoplevel.add(gdstk.Label('drain5', (24.54,24.52), layer=10, texttype=0))
opctoplevel.add(gdstk.Label('guardring0', (0.233,-3), layer=12, texttype=0))
opctoplevel.add(gdstk.Label('guardring0', (0.233,25.32), layer=12, texttype=0))
opctoplevel.add(gdstk.Label('source1', (2.051,-3), layer=12, texttype=0))
opctoplevel.add(gdstk.Label('source1', (2.051,25.32), layer=12, texttype=0))
opctoplevel.add(gdstk.Label('drain1', (3.869,-3), layer=12, texttype=0))
opctoplevel.add(gdstk.Label('drain1', (3.869,25.32), layer=12, texttype=0))
opctoplevel.add(gdstk.Label('drain2', (5.687,-3), layer=12, texttype=0))
opctoplevel.add(gdstk.Label('drain2', (5.687,25.32), layer=12, texttype=0))
opctoplevel.add(gdstk.Label('drain3', (7.505,-3), layer=12, texttype=0))
opctoplevel.add(gdstk.Label('drain3', (7.505,25.32), layer=12, texttype=0))
opctoplevel.add(gdstk.Label('gate1', (9.323,-3), layer=12, texttype=0))
opctoplevel.add(gdstk.Label('gate1', (9.323,25.32), layer=12, texttype=0))
opctoplevel.add(gdstk.Label('gate2', (11.141,-3), layer=12, texttype=0))
opctoplevel.add(gdstk.Label('gate2', (11.141,25.32), layer=12, texttype=0))
opctoplevel.add(gdstk.Label('gate3', (12.959,-3), layer=12, texttype=0))
opctoplevel.add(gdstk.Label('gate3', (12.959,25.32), layer=12, texttype=0))
opctoplevel.add(gdstk.Label('gate4', (14.777,-3), layer=12, texttype=0))
opctoplevel.add(gdstk.Label('gate4', (14.777,25.32), layer=12, texttype=0))
opctoplevel.add(gdstk.Label('drain4', (16.595,-3), layer=12, texttype=0))
opctoplevel.add(gdstk.Label('drain4', (16.595,25.32), layer=12, texttype=0))
opctoplevel.add(gdstk.Label('drain5', (18.413,-3), layer=12, texttype=0))
opctoplevel.add(gdstk.Label('drain5', (18.413,25.32), layer=12, texttype=0))
opctoplevel.add(gdstk.Label('drain6', (20.231,-3), layer=12, texttype=0))
opctoplevel.add(gdstk.Label('drain6', (20.231,25.32), layer=12, texttype=0))
opctoplevel.add(gdstk.Label('drain7', (22.049,-3), layer=12, texttype=0))
opctoplevel.add(gdstk.Label('drain7', (22.049,25.32), layer=12, texttype=0))
opctoplevel.add(gdstk.Label('guardring0', (23.867,-3), layer=12, texttype=0))
opctoplevel.add(gdstk.Label('guardring0', (23.867,25.32), layer=12, texttype=0))

lib.write_gds('opctoplevel.gds')
